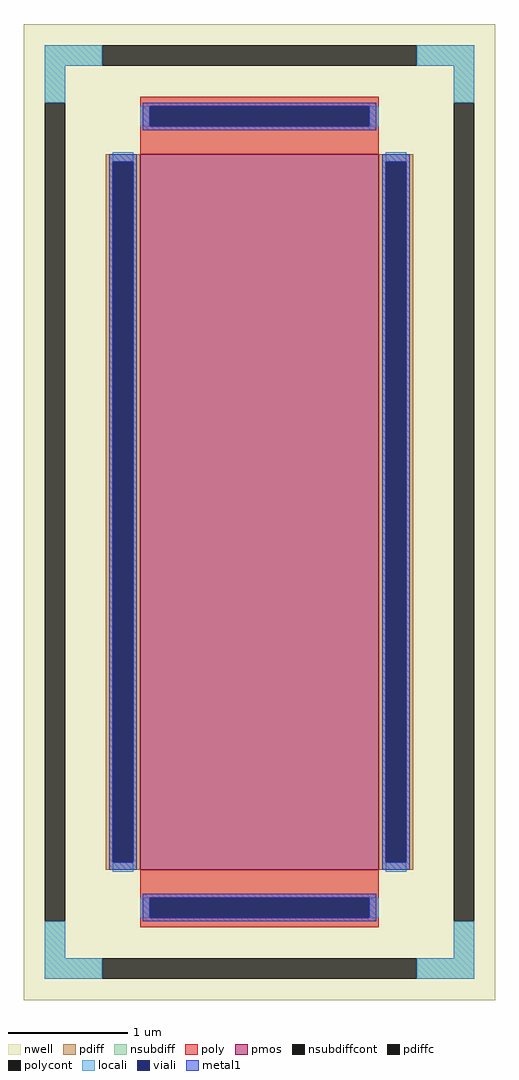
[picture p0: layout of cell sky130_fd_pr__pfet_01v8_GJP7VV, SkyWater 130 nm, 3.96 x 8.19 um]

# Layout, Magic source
magic
tech sky130A
magscale 1 2
<< nwell >>
rect -396 -819 396 819
<< pmos >>
rect -200 -600 200 600
<< pdiff >>
rect -258 588 -200 600
rect -258 -588 -246 588
rect -212 -588 -200 588
rect -258 -600 -200 -588
rect 200 588 258 600
rect 200 -588 212 588
rect 246 -588 258 588
rect 200 -600 258 -588
<< pdiffc >>
rect -246 -588 -212 588
rect 212 -588 246 588
<< nsubdiff >>
rect -360 749 -264 783
rect 264 749 360 783
rect -360 687 -326 749
rect 326 687 360 749
rect -360 -749 -326 -687
rect 326 -749 360 -687
rect -360 -783 -264 -749
rect 264 -783 360 -749
<< nsubdiffcont >>
rect -264 749 264 783
rect -360 -687 -326 687
rect 326 -687 360 687
rect -264 -783 264 -749
<< poly >>
rect -200 681 200 697
rect -200 647 -184 681
rect 184 647 200 681
rect -200 600 200 647
rect -200 -647 200 -600
rect -200 -681 -184 -647
rect 184 -681 200 -647
rect -200 -697 200 -681
<< polycont >>
rect -184 647 184 681
rect -184 -681 184 -647
<< locali >>
rect -360 749 -264 783
rect 264 749 360 783
rect -360 687 -326 749
rect 326 687 360 749
rect -200 647 -184 681
rect 184 647 200 681
rect -246 588 -212 604
rect -246 -604 -212 -588
rect 212 588 246 604
rect 212 -604 246 -588
rect -200 -681 -184 -647
rect 184 -681 200 -647
rect -360 -749 -326 -687
rect 326 -749 360 -687
rect -360 -783 -264 -749
rect 264 -783 360 -749
<< viali >>
rect -184 647 184 681
rect -246 -588 -212 588
rect 212 -588 246 588
rect -184 -681 184 -647
<< metal1 >>
rect -196 681 196 687
rect -196 647 -184 681
rect 184 647 196 681
rect -196 641 196 647
rect -252 588 -206 600
rect -252 -588 -246 588
rect -212 -588 -206 588
rect -252 -600 -206 -588
rect 206 588 252 600
rect 206 -588 212 588
rect 246 -588 252 588
rect 206 -600 252 -588
rect -196 -647 196 -641
rect -196 -681 -184 -647
rect 184 -681 196 -647
rect -196 -687 196 -681
<< properties >>
string FIXED_BBOX -343 -766 343 766
string gencell sky130_fd_pr__pfet_01v8
string library sky130
string parameters w 6.0 l 2.0 m 1 nf 1 diffcov 100 polycov 100 guard 1 glc 1 grc 1 gtc 1 gbc 1 tbcov 100 rlcov 100 topc 1 botc 1 poverlap 0 doverlap 1 lmin 0.15 wmin 0.42 compatible {sky130_fd_pr__pfet_01v8  sky130_fd_pr__pfet_01v8_lvt sky130_fd_pr__pfet_01v8_hvt  sky130_fd_pr__pfet_g5v0d10v5} full_metal 1 viasrc 100 viadrn 100 viagate 100 viagb 0 viagr 0 viagl 0 viagt 0
<< end >>
